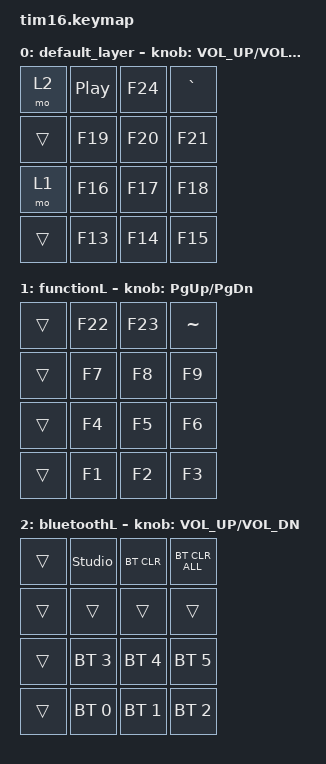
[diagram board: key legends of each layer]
#include <behaviors.dtsi>
#include <dt-bindings/zmk/keys.h>
#include <dt-bindings/zmk/bt.h>
#include <dt-bindings/zmk/outputs.h>
#include <dt-bindings/zmk/ext_power.h>

 / {
    keymap {
        compatible = "zmk,keymap";

        default_layer {
        // -------------------------------------------------------------
        // |bluetoothL|Video PP| Mute Mic|   GRAVE |
        // |         |    F18  |    F19  |   F21   |
        // |         |    F15  |    F16  |   F17   |
        // |         |    F12  |    F13  |   F14   |

            bindings = < 
            &mo 2      &kp C_PP    &kp F24  &kp GRAVE
            &trans     &kp F19     &kp F20  &kp F21
            &mo 1      &kp F16     &kp F17  &kp F18
            &trans     &kp F13     &kp F14  &kp F15
            >;

            sensor-bindings = <&inc_dec_kp C_VOL_UP C_VOL_DN>;
        };

        functionL { // Layer 1
        // -------------------------------------------------------------
        // |         | Disccall|    Defan|  TILDE |
        // |         |    F7   |    F8   |   F9   |
        // |         |    F4   |    F5   |   F6   |
        // |         |    F1   |    F2   |   F3   |

            bindings = < 
                &trans     &kp F22     &kp F23  &kp TILDE
                &trans     &kp F7      &kp F8   &kp F9
                &trans     &kp F4      &kp F5   &kp F6
                &trans     &kp F1      &kp F2   &kp F3
            >;
            
            sensor-bindings = <&inc_dec_kp PG_UP PG_DN>;
        };

        bluetoothL {
        // -------------------------------------------------------------
        // |        |zmkstudio| clear |clear all|
        // |        |       |       |
        // |        |   p3  |p4     |p5     |
        // |        |   p0  |p1     |p2     |

            bindings = < 
                &trans  &studio_unlock &bt BT_CLR  &bt BT_CLR_ALL
                &trans  &trans         &trans      &trans
                &trans  &bt BT_SEL 3   &bt BT_SEL 4  &bt BT_SEL 5
                &trans  &bt BT_SEL 0   &bt BT_SEL 1  &bt BT_SEL 2
            >;    

            sensor-bindings = <&inc_dec_kp C_VOL_UP C_VOL_DN>;
        };

        extra1 {
            status = "reserved";
        };

        extra2 {
            status = "reserved";
        };
    };
};
